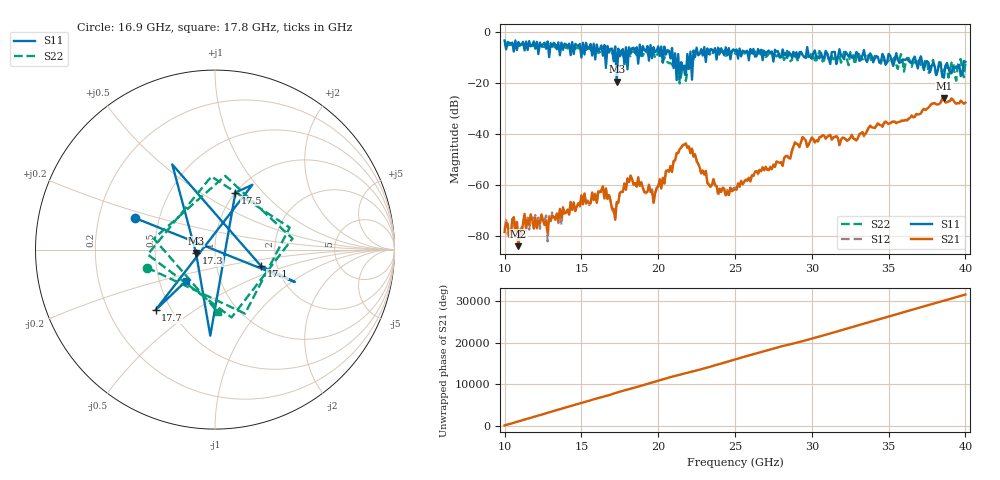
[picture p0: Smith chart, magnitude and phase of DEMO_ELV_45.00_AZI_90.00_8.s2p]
! 11/3/2026 12:41:04 PM
! C:\ANRITSUVNA\TEMP\TEMP.S2P
! CHANNEL.1
! TR.MEASUREMENT
! RAW.DATA
# HZ S RI R 50.0
! FREQ.HZ  S11RE  S11IM  S21RE  S21IM  S12RE  S12IM  S22RE  S22IM
!; PortSelection: Port_12
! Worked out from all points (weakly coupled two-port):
!   301 points, 10 GHz to 40 GHz, reference 50 ohm
!   highest |S21| = -25.78 dB at 38.6 GHz (marker M1); lowest = -83.9 dB at 10.9 GHz (marker M2)
!   lowest |S11| = -19.4 dB at 17.3 GHz (marker M3), VSWR 1.24, Z = 40.4 - j1.56 ohm
!   |S11| at or under -10 dB: 21.32 GHz to 21.88 GHz (565.9 MHz wide, 2.62 % of centre); 35.58 GHz to 36.65 GHz (1.073 GHz wide, 2.97 % of centre); 37.12 GHz to end of sweep (the widest 3 of 41)
!   |S22| runs from -20.0 to -4.7 dB; largest |S21 - S12| = 0.064
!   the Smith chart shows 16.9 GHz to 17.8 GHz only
!   S11 on the Smith chart (normalised r, x): 16.9 GHz: 0.37, +0.17; 17.1 GHz: 1.65, -0.32; 17.3 GHz: 0.81, -0.03; 17.5 GHz: 1.00, +0.72; 17.7 GHz: 0.41, -0.36; 17.8 GHz: 0.69, -0.25
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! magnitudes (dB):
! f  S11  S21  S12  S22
! 10 GHz  -3.2  -78.3  -77.4  -4.7
! 10.9 GHz  -3.8  -83.9  -81.4  -5.3
! 15 GHz  -9.9  -64.0  -64.0  -6.5
! 16.9 GHz  -6.4  -66.3  -65.8  -8.1
! 17.1 GHz  -11.3  -69.1  -70.5  -7.3
! 17.2 GHz  -5.5  -73.5  -72.9  -7.8
! 17.3 GHz  -19.4  -66.6  -66.7  -8.5
! 17.4 GHz  -6.4  -66.7  -67.1  -8.2
! 17.5 GHz  -9.4  -63.0  -62.9  -7.2
! 17.7 GHz  -6.5  -62.5  -62.7  -9.2
! 17.8 GHz  -12.6  -59.3  -59.2  -9.1
! 20 GHz  -5.4  -60.4  -60.3  -7.8
! 21.8 GHz  -16.7  -43.6  -43.7  -19.0
! 21.9 GHz  -8.5  -45.3  -45.5  -15.3
! 22.2 GHz  -18.5  -45.6  -45.7  -11.9
! 22.3 GHz  -7.1  -48.7  -48.6  -10.5
! 23.9 GHz  -6.0  -63.2  -64.3  -9.2
! 25 GHz  -7.5  -61.6  -60.8  -8.3
! 30 GHz  -10.3  -41.3  -41.4  -8.0
! 35 GHz  -8.4  -36.0  -35.9  -11.0
! 38.6 GHz  -17.8  -25.8  -25.8  -14.9
! 40 GHz  -11.5  -27.6  -27.5  -12.2
